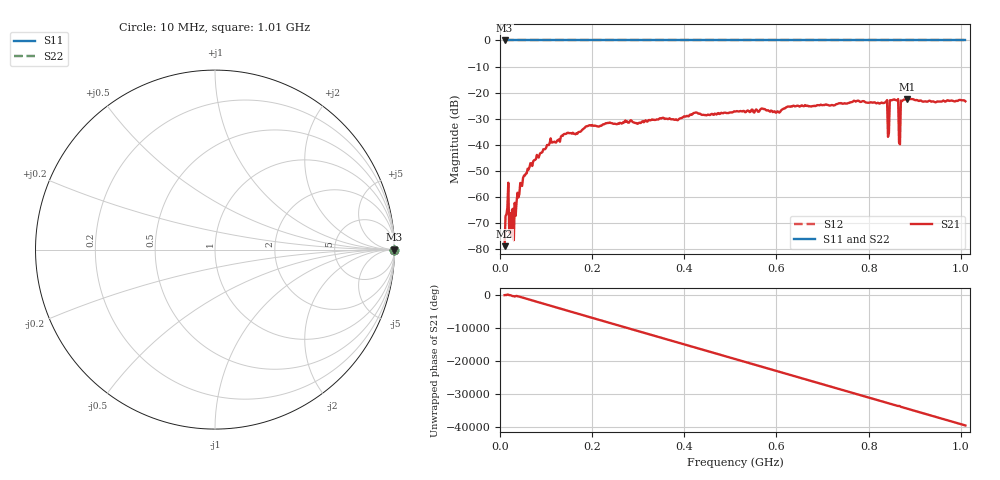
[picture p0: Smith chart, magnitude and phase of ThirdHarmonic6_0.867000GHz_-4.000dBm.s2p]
! 8/16/2025 4:37:49 AM
! C:\ANRITSUVNA\TEMP\TEMP.S2P
! CHANNEL.1
! TR.MEASUREMENT
! RAW.DATA
! RF.CORRECTION.OFF
! AVERAGING.OFF
! IF.BANDWIDTH: 5KHZ
! SWEEPTYPE:  FREQ.SWEEP(Linear)
! Reference Plane Port Info
! PORT:  PORT1  PORT2
! DISTANCE:  0  m  0  m
! TIME:  0  s  0  s
! PHASE.OFFSET:  0  deg.  0  deg.
! LOSS:  0  dB  0  dB
! REF.LOSS:  0  dB  0  dB
! REF.FREQ:  0  Hz  0  Hz
! Power Info
! POWER:  -20  dBm  -20  dBm
! EFF.POWER:  -20  dBm  -20  dBm
! SOURCE.ATTEN:  0  dB  0  dB
! TEST.ATTEN:  0  dB  0  dB
# GHZ S RI R 50.0
! FREQ.GHZ  S11RE  S11IM  S21RE  S21IM  S12RE  S12IM  S22RE  S22IM
!; PortSelection: Port_12
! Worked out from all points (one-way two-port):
!   501 points, 10 MHz to 1.01 GHz, reference 50 ohm
!   highest |S21| = -22.38 dB at 884 MHz (marker M1); lowest = -78.7 dB at 10 MHz (marker M2)
!   lowest |S11| = 0.0 dB at 10 MHz (marker M3)
!   |S11| at or under -10 dB: nowhere
!   |S22| runs from 0.0 to 0.0 dB; largest |S21 - S12| = 1.1
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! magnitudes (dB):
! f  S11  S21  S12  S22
! 10 MHz  0.0  -78.7  0.0  0.0
! 14 MHz  0.0  -66.5  0.0  0.0
! 16 MHz  0.0  -64.0  0.0  0.0
! 26 MHz  0.0  -65.0  0.0  0.0
! 48 MHz  0.0  -55.7  0.0  0.0
! 64 MHz  0.0  -48.5  0.0  0.0
! 106 MHz  0.0  -40.0  0.0  0.0
! 178 MHz  0.0  -34.3  0.0  0.0
! 344 MHz  0.0  -30.2  0.0  0.0
! 510 MHz  0.0  -27.2  0.0  0.0
! 678 MHz  0.0  -25.1  0.0  0.0
! 836 MHz  0.0  -23.7  0.0  0.0
! 840 MHz  0.0  -22.8  0.0  0.0
! 844 MHz  0.0  -35.4  0.0  0.0
! 846 MHz  0.0  -22.9  0.0  0.0
! 850 MHz  0.0  -22.9  0.0  0.0
! 860 MHz  0.0  -22.9  0.0  0.0
! 864 MHz  0.0  -22.4  0.0  0.0
! 870 MHz  0.0  -23.0  0.0  0.0
! 874 MHz  0.0  -23.0  0.0  0.0
! 884 MHz  0.0  -22.4  0.0  0.0
! 1.01 GHz  0.0  -23.3  0.0  0.0
